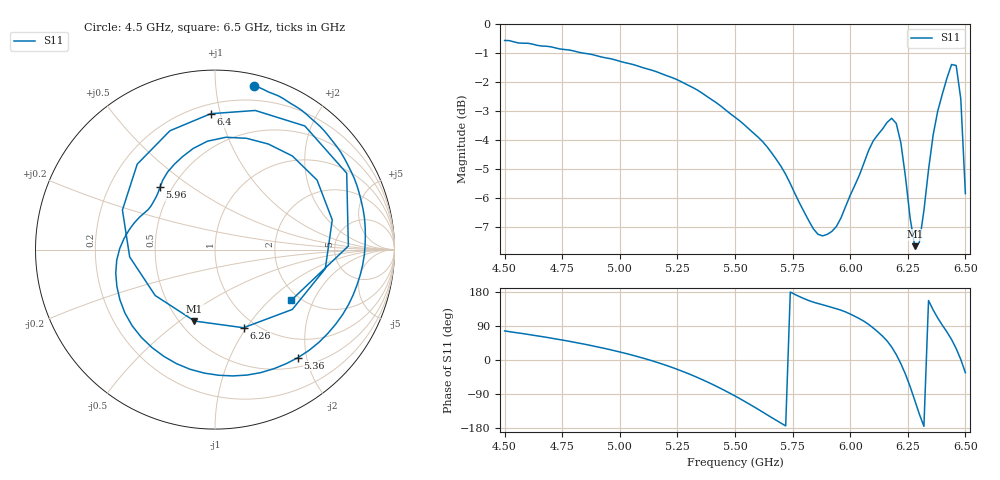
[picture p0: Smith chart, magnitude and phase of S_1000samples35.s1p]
! TOUCHSTONE file generated by CST MICROWAVE STUDIO
! Date and time: Wed Oct 26 18:34:28 2022
! Project name: L.cst
! Parameters = {Di=1.27; Epsilon_r=1.56; InnerDiameter=1.27; Length=2; Lf=10; Lg=60; OuterConductorThickness=0.2921; OuterDiameter=3.6; Wf=3; Wp=41.2; de=1.5; df=6.8; g=0.8; gx=3.07418; gy=1.77726; h=2.34; hf=1.524; px=10.0496; py=13.0913; w=9.7; wx=6.97546; wy=11.314}
! Header version: 2018
! Port assignment regex: !\s*Touchstone port\s*([0-9]+)\s*=\s*(CST MWS port|CST DS port)\s*([0-9]+|Zmin|Zmax)\s*\(\"(.*)\"\)(\s*mode\s*([0-9]+))?.*
! Touchstone port assignment:
! Touchstone port 1 = CST MWS port 1 ("")
# GHz S DB R 50
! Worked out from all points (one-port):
!   101 points, 4.5 GHz to 6.5 GHz, reference 50 ohm
!   lowest |S11| = -7.7 dB at 6.28 GHz (marker M1), VSWR 2.41, Z = 29.6 - j28.4 ohm
!   |S11| at or under -10 dB: nowhere
!   S11 on the Smith chart (normalised r, x): 4.5 GHz: 0.08, +1.26; 5.36 GHz: 0.65, -1.85; 5.96 GHz: 0.43, +0.38; 6.26 GHz: 0.88, -0.97; 6.4 GHz: 0.26, +0.93; 6.5 GHz: 1.80, -1.38
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4.5  -0.57 76.8
4.76  -0.88 51.7
5  -1.28 21.1
5.14  -1.59 -2.1
5.26  -1.96 -27.1
5.36  -2.40 -52.4
5.5  -3.21 -94.9
5.64  -4.24 -144.8
5.76  -5.84 173.0
5.96  -6.68 131.5
6  -5.90 121.3
6.08  -4.36 93.9
6.14  -3.62 63.2
6.18  -3.25 34.3
6.2  -3.43 14.2
6.22  -4.10 -9.8
6.24  -5.28 -37.7
6.26  -6.68 -69.9
6.28  -7.66 -106.0
6.32  -6.43 -175.1
6.34  -5.02 156.9
6.38  -3.00 110.8
6.4  -2.41 91.8
6.42  -1.86 73.9
6.44  -1.40 54.0
6.46  -1.43 30.1
6.48  -2.58 1.5
6.5  -5.85 -33.6
